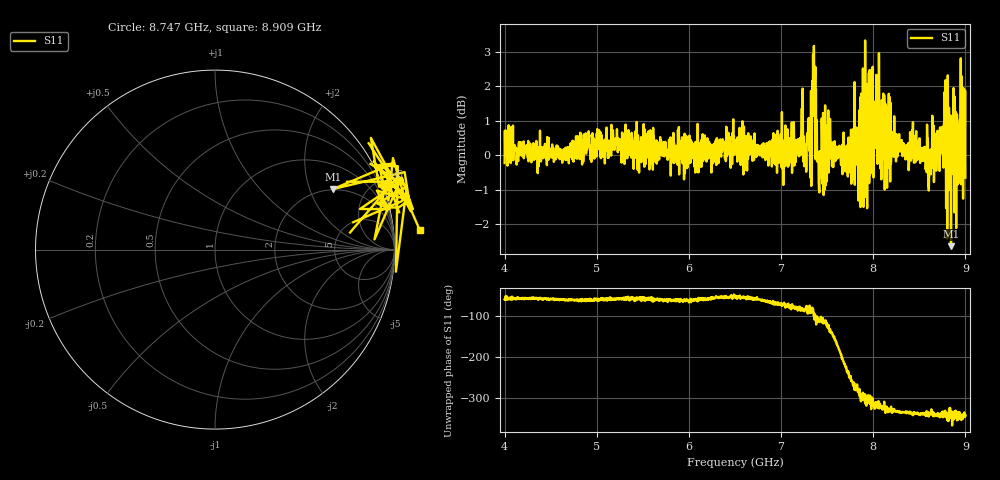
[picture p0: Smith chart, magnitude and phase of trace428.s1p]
! Created with skrf 1.8.0 (http://scikit-rf.org).
# Hz S RI R 50.0
!freq ReS11 ImS11
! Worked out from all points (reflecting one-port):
!   1601 points, 4 GHz to 9 GHz, reference 50 ohm
!   lowest |S11| = -2.6 dB at 8.844 GHz (marker M1), VSWR 6.66, Z = 98.2 + j146 ohm
!   phase of S11 starts at -60 deg and turns -282 deg over the sweep
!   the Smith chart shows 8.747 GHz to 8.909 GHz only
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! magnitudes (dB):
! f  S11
! 4 GHz  -0.2
! 4.066 GHz  -0.2
! 4.625 GHz  -0.2
! 4.894 GHz  0.2
! 5.25 GHz  0.2
! 5.875 GHz  0.0
! 6.5 GHz  0.2
! 7.125 GHz  0.5
! 7.222 GHz  0.7
! 7.262 GHz  0.3
! 7.297 GHz  0.5
! 7.362 GHz  2.6
! 7.412 GHz  -1.0
! 7.525 GHz  0.7
! 7.75 GHz  -0.1
! 8.05 GHz  1.1
! 8.066 GHz  0.9
! 8.088 GHz  -0.7
! 8.375 GHz  0.0
! 8.441 GHz  -0.2
! 8.612 GHz  -0.1
! 8.759 GHz  -0.2
! 8.844 GHz  -2.6
! 8.872 GHz  1.9
! 8.919 GHz  -0.3
! 8.956 GHz  0.3
! 8.972 GHz  0.5
! 9 GHz  -0.6
